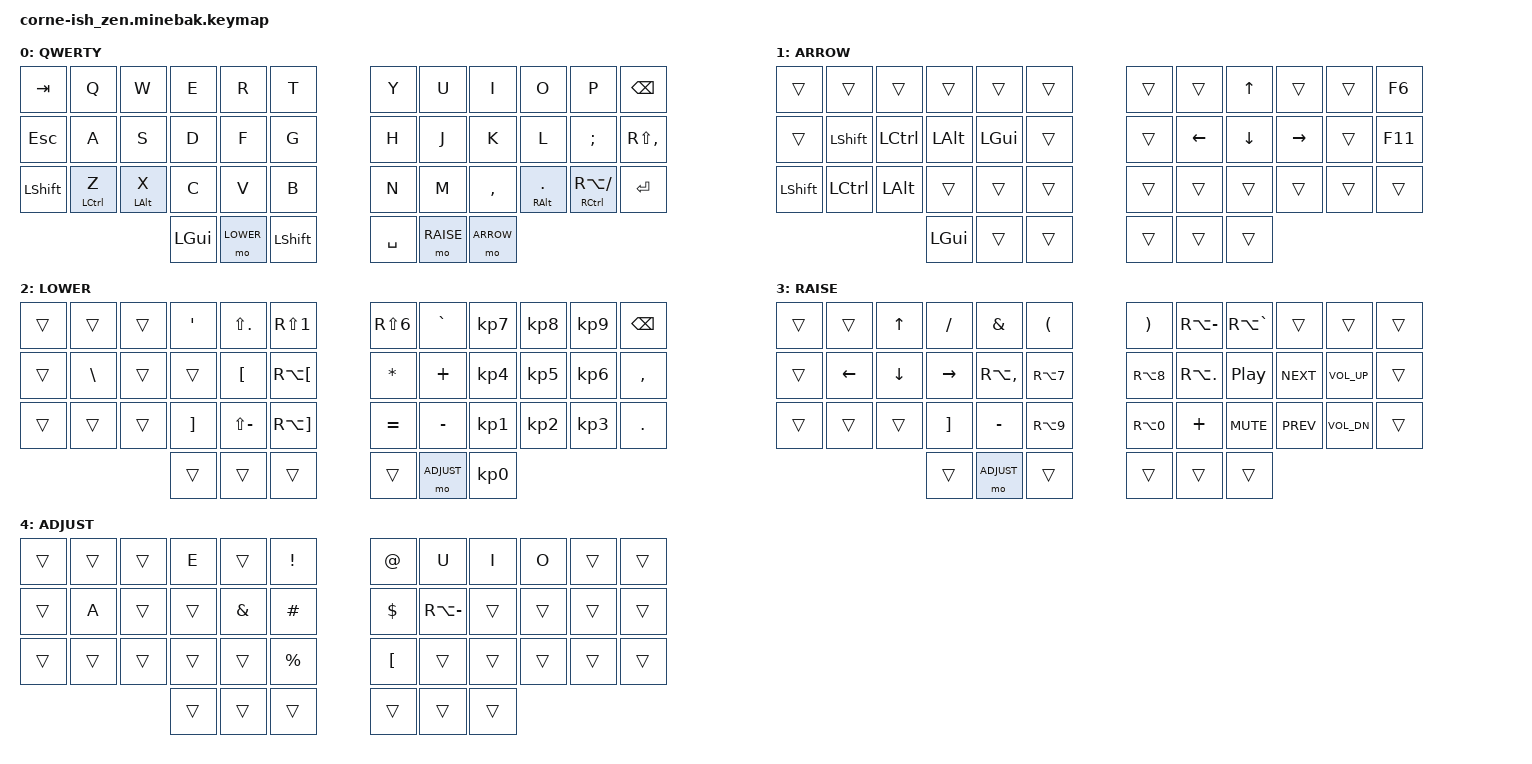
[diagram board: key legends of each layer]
#include <behaviors.dtsi>
#include <dt-bindings/zmk/keys.h>
#include <dt-bindings/zmk/bt.h>

#define QWERTY 0
#define ARROW 1
#define LOWER 2
#define RAISE 3
#define ADJUST 4

&mt {
  tapping-term-ms = <200>;
  flavor = "tap-preferred";
};

/ {
    keymap {
        compatible = "zmk,keymap";

        default_layer {
            label = "QWERTY";
            bindings = <
   &kp TAB   &kp Q       &kp W      &kp E &kp R &kp T   &kp Y &kp U &kp I     &kp O        &kp P              &kp BSPC
   &kp ESC   &kp A       &kp S      &kp D &kp F &kp G   &kp H &kp J &kp K     &kp L        &kp SEMI           &kp RS(COMMA)
   &kp LSHFT &mt LCTRL Z &mt LALT X &kp C &kp V &kp B   &kp N &kp M &kp COMMA &mt RALT DOT &mt RCTRL RA(FSLH) &kp ENTER
                         &kp LGUI &mo LOWER &kp LSHFT   &kp SPACE &mo RAISE &mo ARROW
            >;
        };
        arrow_layer {
            label = "ARROW";
            bindings = <
   &trans    &trans    &trans    &trans   &trans   &trans   &trans &trans   &kp UP   &trans    &trans &kp F6
   &trans    &kp LSHFT &kp LCTRL &kp LALT &kp LGUI &trans   &trans &kp LEFT &kp DOWN &kp RIGHT &trans &kp F11
   &kp LSHFT &kp LCTRL &kp LALT  &trans   &trans   &trans   &trans &trans   &trans   &trans    &trans &trans
                                   &kp LGUI &trans &trans   &trans &trans &trans
            >;
        };
        lower_layer {
            label = "LOWER";
            bindings = <
   &trans &trans   &trans &kp SQT  &kp LS(DOT)   &kp RS(N1)     &kp RS(N6) &kp GRAVE  &kp KP_N7 &kp KP_N8 &kp KP_N9 &kp BSPC
   &trans &kp BSLH &trans &trans   &kp LBKT      &kp RA(LBKT)   &kp STAR   &kp PLUS   &kp KP_N4 &kp KP_N5 &kp KP_N6 &kp COMMA
   &trans &trans   &trans &kp RBKT &kp LS(MINUS) &kp RA(RBKT)   &kp EQUAL  &kp MINUS  &kp KP_N1 &kp KP_N2 &kp KP_N3 &kp DOT
                                         &trans &trans &trans   &trans &mo ADJUST &kp KP_N0
            >;
        };
        raise_layer {
            label = "RAISE";
            bindings = <
   &trans &trans   &kp UP   &kp FSLH  &kp AMPS      &kp LPAR     &kp RPAR   &kp RA(MINUS) &kp RA(GRAVE) &trans     &trans       &trans
   &trans &kp LEFT &kp DOWN &kp RIGHT &kp RA(COMMA) &kp RA(N7)   &kp RA(N8) &kp RA(DOT)   &kp C_PP      &kp C_NEXT &kp C_VOL_UP &trans
   &trans &trans   &trans   &kp RBKT  &kp MINUS     &kp RA(N9)   &kp RA(N0) &kp PLUS      &kp K_MUTE    &kp C_PREV &kp C_VOL_DN &trans
                                      &trans &mo ADJUST &trans   &trans &trans &trans
            >;
        };
        adjust_layer {
            label = "ADJUST";
            bindings = <
   &trans &trans &trans &kp E  &trans   &kp EXCL    &kp AT   &kp U         &kp I  &kp O  &trans &trans
   &trans &kp A  &trans &trans &kp AMPS &kp HASH    &kp DLLR &kp RA(MINUS) &trans &trans &trans &trans
   &trans &trans &trans &trans &trans   &kp PRCNT   &kp LBKT &trans        &trans &trans &trans &trans
                             &trans &trans &trans   &trans &trans &trans
            >;
        };
    };
};
